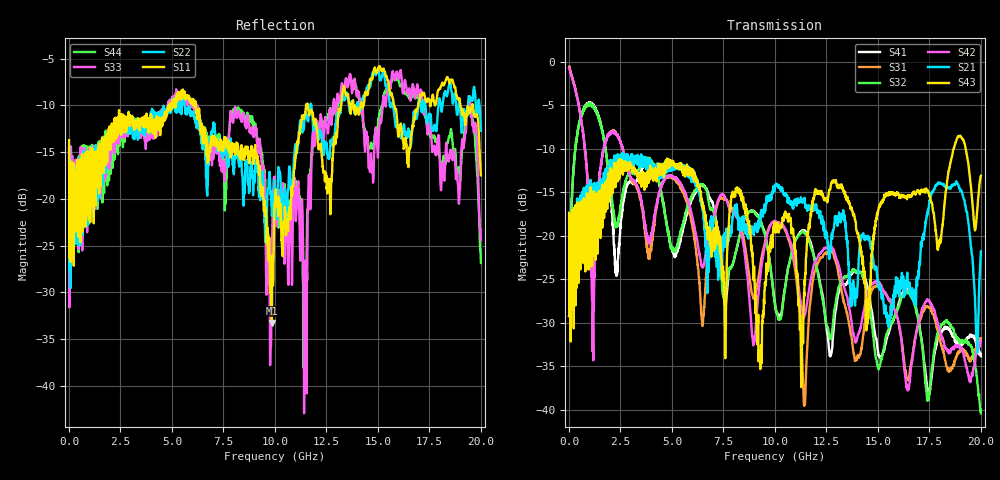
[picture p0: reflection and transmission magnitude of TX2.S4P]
# Hz S  RI  R 50
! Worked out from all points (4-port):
!   1601 points, 10 MHz to 20 GHz, reference 50 ohm
!   strongest paths, dB at 10 MHz, 5.008 GHz, 10.01 GHz, 15 GHz, 20 GHz:
!     S43: -17.4, -11.7, -18.6, -17.3, -13.1
!     S21: -17.5, -12.1, -14.4, -25.1, -21.8
!     S42: -0.7, -13.2, -18.3, -25.5, -32.1
!     S32: -29.2, -21.5, -28.0, -35.1, -40.4
!     S31: -0.6, -13.4, -18.3, -25.6, -31.8
!     S41: -29.3, -21.5, -27.7, -33.3, -33.8
!   lowest |S11| = -33.3 dB at 9.855 GHz (marker M1), VSWR 1.04, Z = 51.7 - j1.36 ohm
!   |S11| at or under -10 dB: start of sweep to 4.832 GHz; 6.151 GHz to 11.51 GHz (5.362 GHz wide, 60.7 % of centre); 11.59 GHz to 13.22 GHz (1.63 GHz wide, 13.1 % of centre)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
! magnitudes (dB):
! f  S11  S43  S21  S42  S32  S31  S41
! 10 MHz  -13.7  -17.4  -17.5  -0.7  -29.2  -0.6  -29.3
! 1.172 GHz  -17.6  -17.5  -16.7  -31.9  -5.1  -26.4  -5.0
! 2.071 GHz  -13.1  -13.7  -12.5  -8.1  -15.2  -8.1  -16.3
! 6.482 GHz  -13.7  -16.6  -16.9  -23.6  -14.0  -30.4  -14.2
! 9.855 GHz  -33.3  -20.7  -15.1  -18.5  -24.9  -18.5  -24.9
! 13.63 GHz  -9.9  -16.3  -24.7  -28.5  -24.3  -30.4  -24.7
! 20 GHz  -17.5  -13.1  -21.8  -32.1  -40.4  -31.8  -33.8
